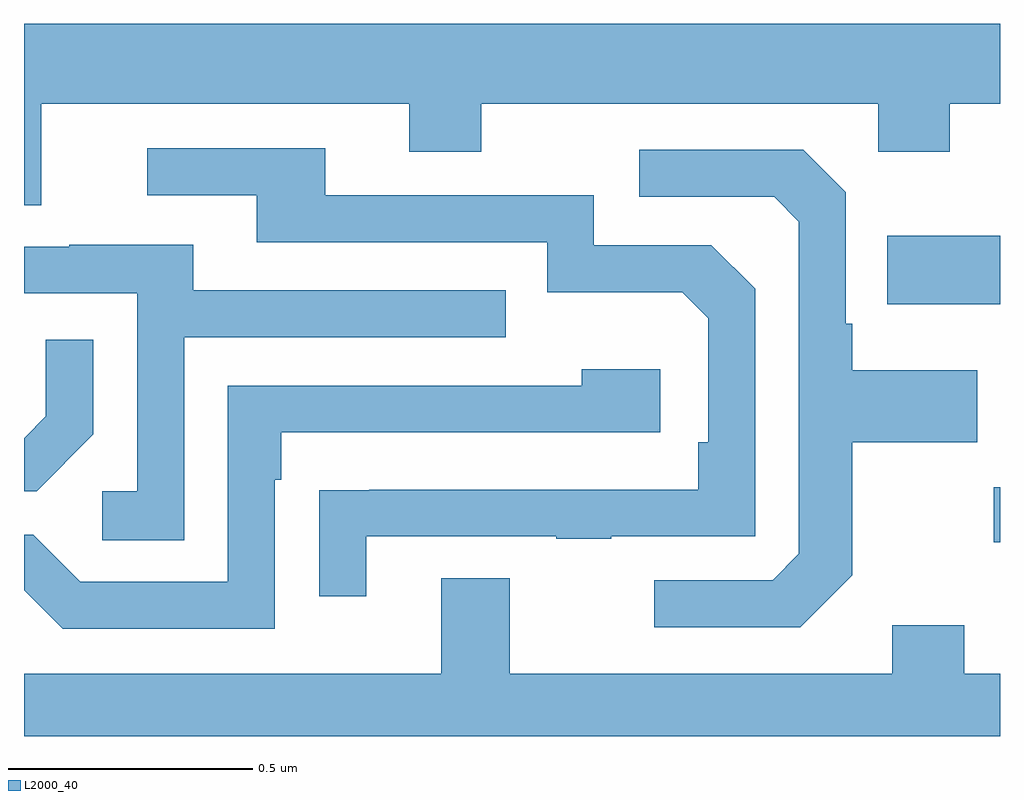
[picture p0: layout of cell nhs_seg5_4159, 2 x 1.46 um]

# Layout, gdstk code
import gdstk
lib = gdstk.Library(unit=1e-6, precision=1e-09)
def R(c, l, rs):  # rectangles x0, y0, x1, y1
    for r in rs: c.add(gdstk.rectangle(r[:2], r[2:], *l))
def P(c, l, *ps):  # polygons
    for p in ps: c.add(gdstk.Polygon(p, *l))
L2000_40 = (2000, 40)

nhs_seg5_4159 = lib.new_cell('nhs_seg5_4159')
R(nhs_seg5_4159, L2000_40, [(168.987,853.197,169,853.31), (168.769,853.685,169,853.825)])
P(nhs_seg5_4159, L2000_40, [(167.035,854.096),(167.789,854.096),(167.789,853.997),(167.937,853.997),(167.937,854.096),(168.75,854.096),(168.75,853.997),(168.897,853.997),(168.897,854.096),(169,854.096),(169,854.26),(167,854.26),(167,853.888),(167.035,853.888)],
  [(167.701,853.209),(168.091,853.209),(168.091,853.204),(168.203,853.204),(168.203,853.209),(168.498,853.209),(168.498,853.716),(168.408,853.806),(168.168,853.806),(168.168,853.908),(167.617,853.908),(167.617,854.004),(167.253,854.004),(167.253,853.908),(167.477,853.908),(167.477,853.812),(168.072,853.812),(168.072,853.709),(168.349,853.709),(168.402,853.656),(168.402,853.402),(168.382,853.402),(168.382,853.305),(167.707,853.305),(167.707,853.304),(167.605,853.304),(167.605,853.086),(167.701,853.086)],
  [(168.697,853.129),(168.697,853.402),(168.953,853.402),(168.953,853.549),(168.697,853.549),(168.697,853.645),(168.684,853.645),(168.684,853.914),(168.597,854.001),(168.261,854.001),(168.261,853.905),(168.537,853.905),(168.588,853.854),(168.588,853.173),(168.534,853.119),(168.291,853.119),(168.291,853.023),(168.591,853.023)],
  [(167.328,853.617),(167.987,853.617),(167.987,853.713),(167.347,853.713),(167.347,853.807),(167.093,853.807),(167.093,853.803),(167,853.803),(167,853.707),(167.232,853.707),(167.232,853.302),(167.16,853.302),(167.16,853.201),(167.328,853.201)],
  [(167.142,853.418),(167.142,853.612),(167.045,853.612),(167.045,853.455),(167,853.41),(167,853.302),(167.026,853.302)],
  [(167.514,853.325),(167.527,853.325),(167.527,853.422),(168.304,853.422),(168.304,853.552),(168.143,853.552),(168.143,853.518),(167.418,853.518),(167.418,853.116),(167.115,853.116),(167.019,853.212),(167,853.212),(167,853.099),(167.079,853.02),(167.514,853.02)],
  [(169,852.928),(168.927,852.928),(168.927,853.027),(168.779,853.027),(168.779,852.928),(167.995,852.928),(167.995,853.123),(167.855,853.123),(167.855,852.928),(167,852.928),(167,852.799),(169,852.799)])

lib.write_gds('nhs_seg5_4159.gds')
